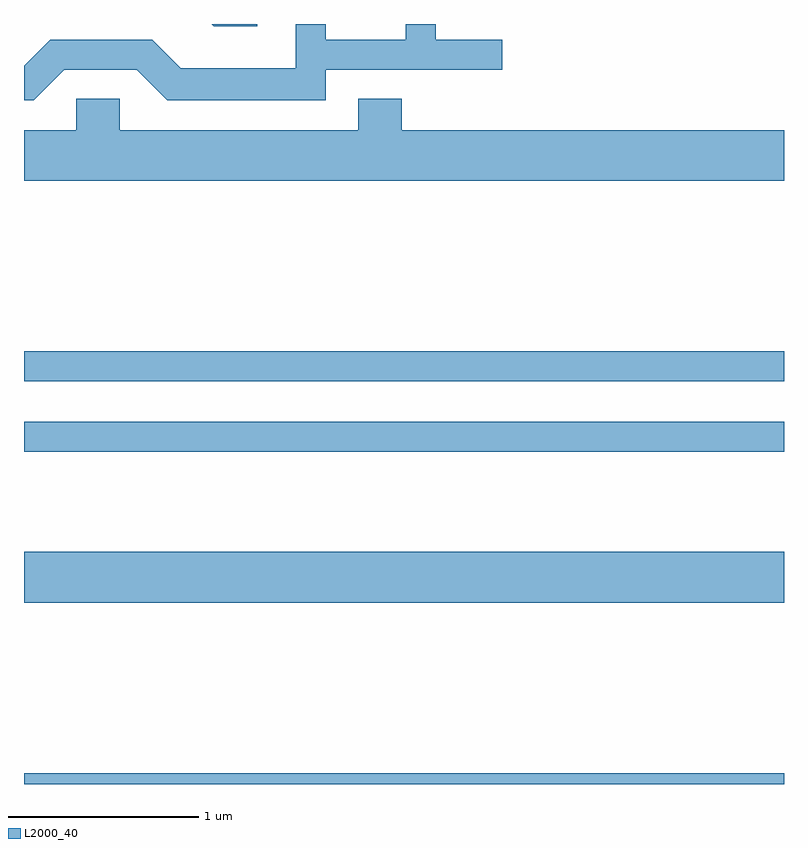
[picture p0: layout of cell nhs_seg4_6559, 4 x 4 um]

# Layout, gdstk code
import gdstk
lib = gdstk.Library(unit=1e-6, precision=1e-09)
def R(c, l, rs):  # rectangles x0, y0, x1, y1
    for r in rs: c.add(gdstk.rectangle(r[:2], r[2:], *l))
def P(c, l, *ps):  # polygons
    for p in ps: c.add(gdstk.Polygon(p, *l))
L2000_40 = (2000, 40)

nhs_seg4_6559 = lib.new_cell('nhs_seg4_6559')
R(nhs_seg4_6559, L2000_40, [(377.611,1315.982,381.611,1316.039), (377.611,1316.936,381.611,1317.204), (377.611,1317.731,381.611,1317.889), (377.611,1318.101,381.611,1318.259)])
P(nhs_seg4_6559, L2000_40, [(377.822,1319.741),(378.204,1319.741),(378.364,1319.581),(379.199,1319.581),(379.199,1319.741),(380.128,1319.741),(380.128,1319.899),(379.779,1319.899),(379.779,1319.982),(379.621,1319.982),(379.621,1319.899),(379.199,1319.899),(379.199,1319.982),(379.041,1319.982),(379.041,1319.749),(378.437,1319.749),(378.287,1319.899),(377.749,1319.899),(377.611,1319.761),(377.611,1319.581),(377.662,1319.581)],
  [(378.838,1319.982),(378.598,1319.982),(378.609,1319.971),(378.838,1319.971)],
  [(381.611,1319.424),(379.599,1319.424),(379.599,1319.589),(379.371,1319.589),(379.371,1319.424),(378.114,1319.424),(378.114,1319.589),(377.886,1319.589),(377.886,1319.424),(377.611,1319.424),(377.611,1319.156),(381.611,1319.156)])

lib.write_gds('nhs_seg4_6559.gds')
